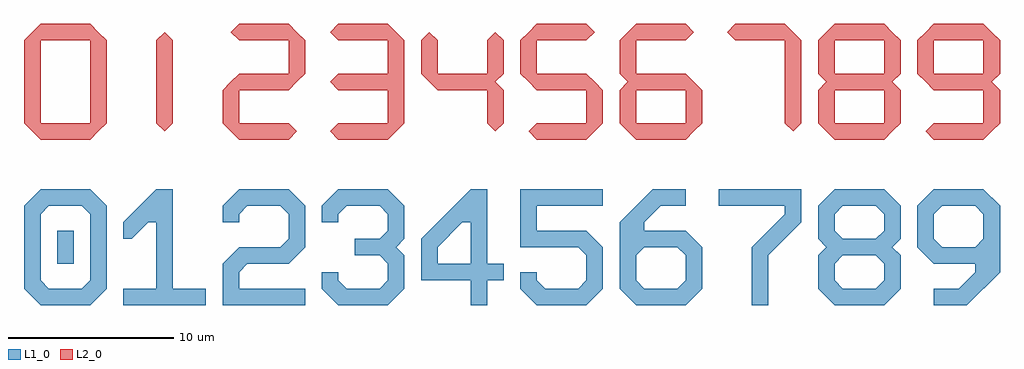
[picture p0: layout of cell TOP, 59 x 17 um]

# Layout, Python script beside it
import klayout.db as db
import math

ly = db.Layout()
top_cell = ly.create_cell("TOP")
l1 = ly.layer(1, 0)
l2 = ly.layer(2, 0)

mag = 10.0

# uses the default font
gen = db.TextGenerator.default_generator()
region = gen.text("0123456789", ly.dbu, mag)

top_cell.shapes(l1).insert(region)

# uses a new generator with a custom font
gen = db.TextGenerator()
gen.load_from_file("7seg_font.gds")
region = gen.text("0123456789", ly.dbu, mag)

top_cell.shapes(l2).insert(region, db.DTrans(db.DVector(0, 10.0)))

ly.write("glyphs.gds")
